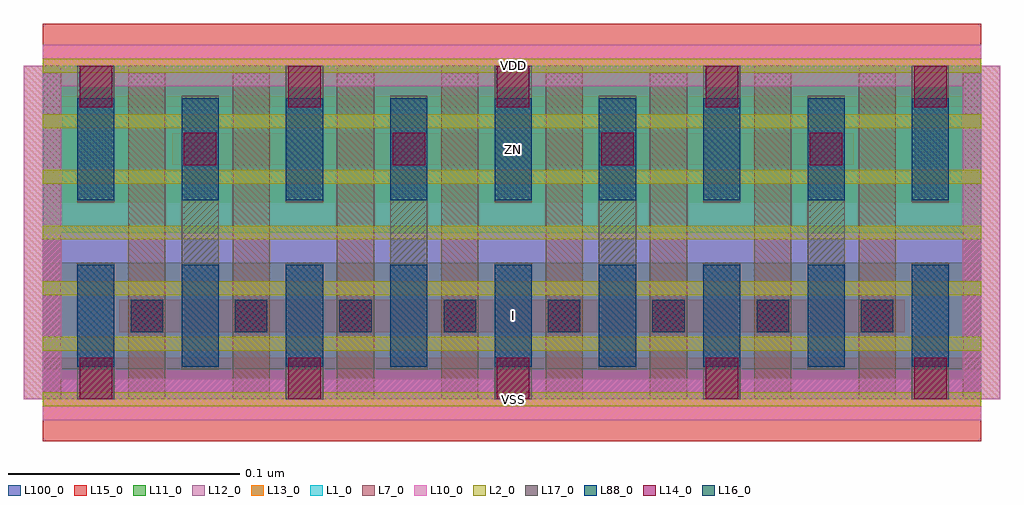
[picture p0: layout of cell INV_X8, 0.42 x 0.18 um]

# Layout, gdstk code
import gdstk
lib = gdstk.Library(unit=1e-6, precision=1e-09)
def R(c, l, rs):  # rectangles x0, y0, x1, y1
    for r in rs: c.add(gdstk.rectangle(r[:2], r[2:], *l))
def A(c, l, x, y, w, h, nx, ny, dx, dy):  # array of equal rectangles
    R(c, l, [(x+i*dx, y+j*dy, x+i*dx+w, y+j*dy+h) for i in range(nx) for j in range(ny)])
def P(c, l, *ps):  # polygons
    for p in ps: c.add(gdstk.Polygon(p, *l))
L1_0 = (1, 0)
L2_0 = (2, 0)
L7_0 = (7, 0)
L10_0 = (10, 0)
L11_0 = (11, 0)
L12_0 = (12, 0)
L13_0 = (13, 0)
L14_0 = (14, 0)
L15_0 = (15, 0)
L16_0 = (16, 0)
L17_0 = (17, 0)
L88_0 = (88, 0)
L100_0 = (100, 0)

inv_x8 = lib.new_cell('INV_X8')
R(inv_x8, L1_0, [(0,0.072,0.405,0.144)])
A(inv_x8, L2_0, 0, -0.003, 0.405, 0.006, 1, 7, 0, 0.024)
A(inv_x8, L7_0, -0.008, 0, 0.016, 0.144, 10, 1, 0.045, 0)
P(inv_x8, L10_0, [(0,-0.009),(0,0),(-0.008,0),(-0.008,0.135),(0.008,0.135),(0.008,0.009),(0.397,0.009),(0.397,0.135),(-0.008,0.135),(-0.008,0.144),(0,0.144),(0,0.153),(0.405,0.153),(0.405,0.144),(0.413,0.144),(0.413,0),(0.405,0),(0.405,-0.009)])
R(inv_x8, L11_0, [(0,0.013,0.405,0.059), (0,0.085,0.405,0.131)])
R(inv_x8, L12_0, [(0,0,0.405,0.072)])
R(inv_x8, L13_0, [(0,0.072,0.405,0.144)])
A(inv_x8, L14_0, 0.016, 0, 0.014, 0.018, 5, 2, 0.09, 0.126)
A(inv_x8, L14_0, 0.038, 0.029, 0.014, 0.014, 8, 1, 0.045, 0)
A(inv_x8, L14_0, 0.061, 0.101, 0.014, 0.014, 4, 1, 0.09, 0)
R(inv_x8, L15_0, [(0,-0.018,0.405,0.018), (0.033,0.029,0.372,0.043), (0.056,0.101,0.35,0.115), (0,0.126,0.405,0.162)])
A(inv_x8, L16_0, 0.038, 0.029, 0.014, 0.014, 8, 1, 0.045, 0)
A(inv_x8, L17_0, 0.015, 0, 0.016, 0.059, 5, 2, 0.09, 0.085)
A(inv_x8, L17_0, 0.06, 0.013, 0.016, 0.118, 4, 1, 0.09, 0)
A(inv_x8, L88_0, 0.015, 0.014, 0.016, 0.044, 9, 2, 0.045, 0.072)
R(inv_x8, L100_0, [(0,0,0.405,0.144)])
inv_x8.add(gdstk.Label('I', (0.203,0.036), layer=15, texttype=251))
inv_x8.add(gdstk.Label('VSS', (0.203,0), layer=15, texttype=251))
inv_x8.add(gdstk.Label('VDD', (0.203,0.144), layer=15, texttype=251))
inv_x8.add(gdstk.Label('ZN', (0.203,0.108), layer=15, texttype=251))
inv_x8.add(gdstk.Label('VSS', (0.203,0), layer=15, texttype=251))
inv_x8.add(gdstk.Label('VDD', (0.203,0.144), layer=15, texttype=251))
inv_x8.add(gdstk.Label('VSS', (0.203,0), layer=3, texttype=251))
inv_x8.add(gdstk.Label('VSS', (0.203,0), layer=3, texttype=251))
inv_x8.add(gdstk.Label('VDD', (0.203,0.144), layer=1, texttype=251))
inv_x8.add(gdstk.Label('VDD', (0.203,0.144), layer=1, texttype=251))

lib.write_gds('INV_X8.gds')
